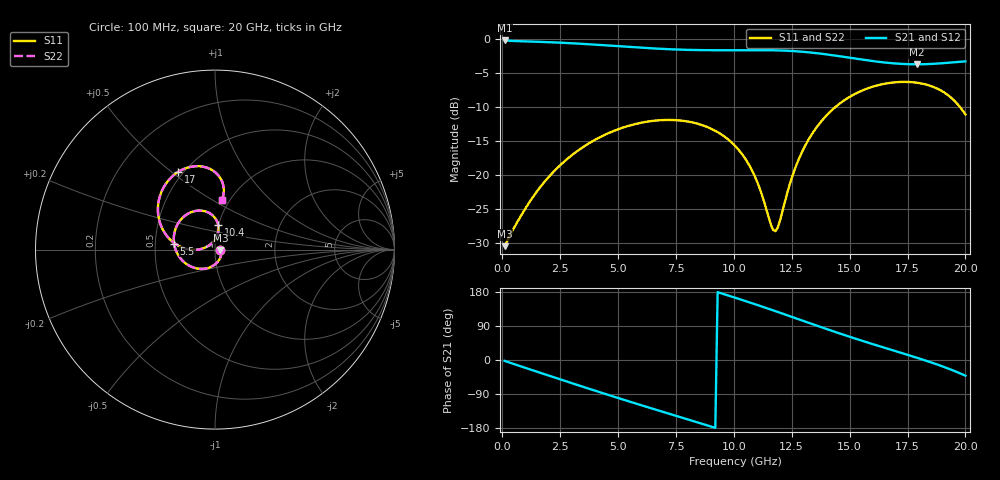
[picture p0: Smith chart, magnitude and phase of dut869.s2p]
! Touchstone file exported from HFSS 2026.1.0
!  File:  C:/ffzhzh/LocalFiles/Ansys_Project_Files/temp_train_TSV_RDL_869_1783271834_30076.aedt
!  Generated:  01:32:49 AM Jul  6, 2026
!  Design:  TSV_RDL
!  Project:  temp_train_TSV_RDL_869_1783271834_30076
! Variables:
!  h_bsmrdl = 4.94um
!  h_ox = 20um
!  h_rdl = 5um
!  h_sub = 72.74um
!  h_tmrdl = 4.19um
!  h_tsv = 72.74um
!  h_via = 3um
!  l_bsmrdl = 765.82um
!  l_sub = 5347.52um
!  l_tmrdl = 639.4um
!  m_sub = 200um
!  pitch = 21.64um
!  r_tsv = 10.07um
!  s_tmrdl = 10um
!  w_bsmrdl = 20.43um
!  w_sub = 500um
!  w_tmrdl = 10.39um
!  x_tsv_center1 = 644.595um
!  x_tsv_center2 = 1430.845um
!  x_tsv_center3 = 2080.635um
!  x_tsv_center4 = 2866.885um
!  x_tsv_center5 = 3516.675um
!  x_tsv_center6 = 4302.925um
# GHz S MA R 50.000000
! Terminal data exported
! Port[1] = TM_RDL1_1_T1
! Port[2] = TM_RDL5_1_T1
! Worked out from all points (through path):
!   200 points, 100 MHz to 20 GHz, reference 50 ohm
!   highest |S21| = -0.26 dB at 100 MHz (marker M1); lowest = -3.8 dB at 17.9 GHz (marker M2)
!   group delay of S21, straight-line fit = 55 ps
!   lowest |S11| = -30.5 dB at 100 MHz (marker M3), VSWR 1.06, Z = 53.1 - j0.18 ohm
!   |S11| at or under -10 dB: start of sweep to 14.4 GHz; 19.76 GHz to end of sweep
!   |S22| runs from -30.5 to -6.3 dB; largest |S21 - S12| = 4.3e-14
!   S11 on the Smith chart (normalised r, x): 100 MHz: 1.06, -0.00; 5.5 GHz: 0.63, +0.04; 10.4 GHz: 1.00, +0.28; 17 GHz: 0.47, +0.53; 20 GHz: 0.92, +0.55
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0.1  0.03003 -3.2  0.97 -2.3  0.97 -2.3  0.03003 -3.2
! Gamma 0 0 0 0
! Port Impedance 50 0 50 0
0.9  0.05332 -56.1  0.9559 -18.8  0.9559 -18.8  0.05331 -56.1
1.7  0.08396 -91.2  0.9463 -34.9  0.9463 -34.9  0.08394 -91.2
2.6  0.1222 -119.3  0.9325 -53.1  0.9325 -53.1  0.1221 -119.3
3.5  0.1606 -142.8  0.915 -71.0  0.915 -71.0  0.1605 -142.8
4.5  0.1996 -166.4  0.8924 -90.7  0.8924 -90.7  0.1995 -166.5
5.5  0.2305 171.6  0.8691 -109.9  0.8691 -109.9  0.2305 171.6
6.8  0.252 145.0  0.8429 -134.3  0.8429 -134.3  0.252 145.0
8.5  0.2359 112.9  0.8242 -165.9  0.8242 -165.9  0.2358 112.8
10.1  0.1602 86.5  0.8231 163.5  0.8231 163.5  0.1602 86.4
10.4  0.1387 82.8  0.8237 157.6  0.8237 157.6  0.1386 82.6
11  0.08972 80.1  0.8243 145.5  0.8243 145.5  0.0896 79.8
11.6  0.04314 105.8  0.8225 133.0  0.8225 133.0  0.04281 105.5
11.8  0.03871 132.8  0.8211 128.8  0.8211 128.8  0.03828 132.8
12.7  0.1181 -179.5  0.8077 109.6  0.8077 109.6  0.1179 -179.3
13.4  0.2027 174.2  0.7885 94.6  0.7885 94.6  0.2025 174.3
15  0.3739 147.9  0.7242 61.3  0.7242 61.3  0.3737 148.0
16.7  0.4726 120.0  0.6634 28.7  0.6634 28.7  0.4724 120.0
17  0.479 115.4  0.6569 23.1  0.6569 23.1  0.4788 115.4
17.9  0.4752 102.0  0.6482 6.1  0.6482 6.1  0.475 102.0
19.1  0.4013 85.9  0.6622 -18.9  0.6622 -18.9  0.4012 85.9
20  0.2779 82.2  0.6812 -41.4  0.6812 -41.4  0.2779 82.2
